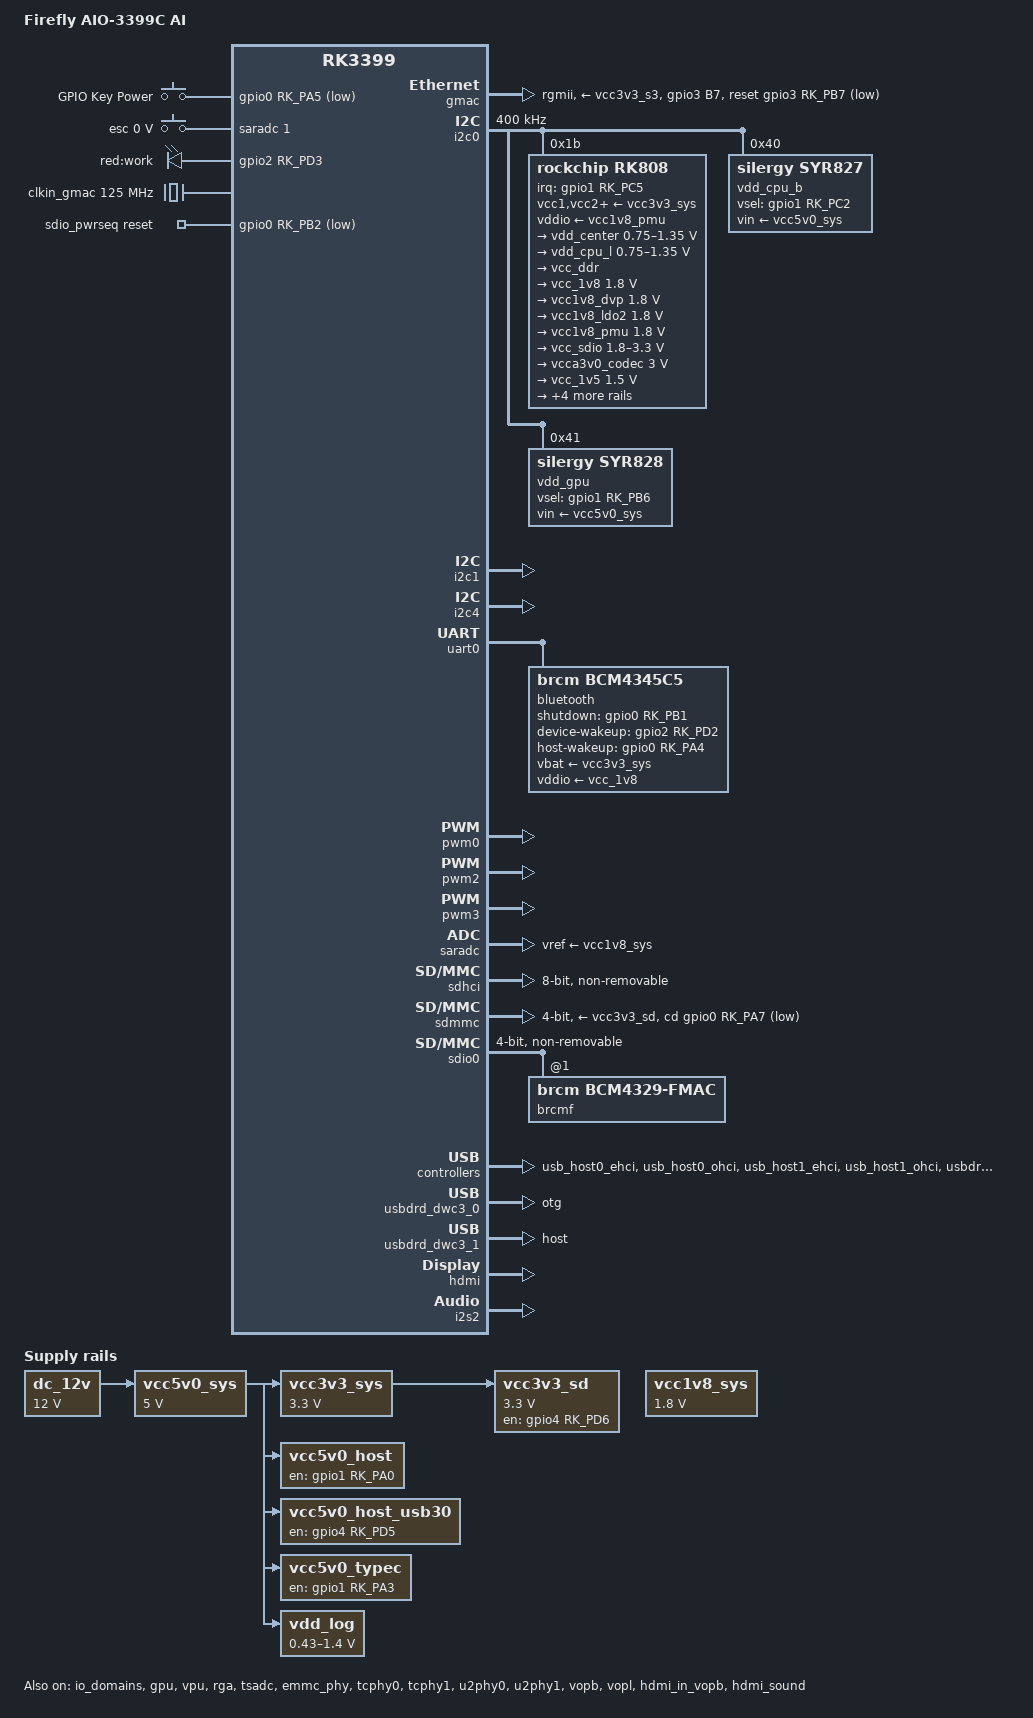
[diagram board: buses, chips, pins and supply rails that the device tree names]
// SPDX-License-Identifier: (GPL-2.0+ OR MIT)
/*
 * Copyright (C) 2025 kaixinos <kaixinos@outlook.com>
 */

/dts-v1/;
#include <dt-bindings/input/linux-event-codes.h>
#include <dt-bindings/leds/common.h>
#include <dt-bindings/pwm/pwm.h>
#include "rk3399.dtsi"

/ {
	model = "Firefly AIO-3399C AI";
	compatible = "firefly,aio-3399c-ai", "rockchip,rk3399";

	aliases {
		ethernet0 = &gmac;
		mmc0 = &sdio0;
		mmc1 = &sdmmc;
		mmc2 = &sdhci;
	};

	chosen {
		stdout-path = "serial2:1500000n8";
	};

	dc_12v: dc-12v {
		compatible = "regulator-fixed";
		regulator-name = "dc_12v";
		regulator-always-on;
		regulator-boot-on;
		regulator-min-microvolt = <12000000>;
		regulator-max-microvolt = <12000000>;
	};

	vcc5v0_sys: vcc5v0-sys {
		compatible = "regulator-fixed";
		regulator-name = "vcc5v0_sys";
		regulator-always-on;
		regulator-boot-on;
		regulator-min-microvolt = <5000000>;
		regulator-max-microvolt = <5000000>;
		vin-supply = <&dc_12v>;
	};

	vcc3v3_sys: vcc3v3-sys {
		compatible = "regulator-fixed";
		regulator-name = "vcc3v3_sys";
		regulator-always-on;
		regulator-boot-on;
		regulator-min-microvolt = <3300000>;
		regulator-max-microvolt = <3300000>;
		vin-supply = <&vcc5v0_sys>;
	};

	vcc1v8_sys: vcc1v8-sys {
		compatible = "regulator-fixed";
		regulator-name = "vcc1v8_sys";
		regulator-always-on;
		regulator-boot-on;
		regulator-min-microvolt = <1800000>;
		regulator-max-microvolt = <1800000>;
	};

	vcc3v3_sd: vcc3v3-sd {
		compatible = "regulator-fixed";
		regulator-name = "vcc3v3_sd";
		enable-active-high;
		gpio = <&gpio4 RK_PD6 GPIO_ACTIVE_HIGH>;
		pinctrl-names = "default";
		pinctrl-0 = <&sdmmc0_pwr_h>;
		regulator-always-on;
		regulator-min-microvolt = <3300000>;
		regulator-max-microvolt = <3300000>;
		vin-supply = <&vcc3v3_sys>;
	};

	vcc5v0_host: vcc5v0-host {
		compatible = "regulator-fixed";
		regulator-name = "vcc5v0_host";
		enable-active-high;
		gpio = <&gpio1 RK_PA0 GPIO_ACTIVE_HIGH>;
		pinctrl-names = "default";
		pinctrl-0 = <&vcc5v0_host_en>;
		vin-supply = <&vcc5v0_sys>;
	};

	vcc5v0_host_usb30: vcc5v0-host-usb30 {
		compatible = "regulator-fixed";
		regulator-name = "vcc5v0_host_usb30";
		enable-active-high;
		gpio = <&gpio4 RK_PD5 GPIO_ACTIVE_HIGH>;
		pinctrl-names = "default";
		pinctrl-0 = <&vcc5v0_host_usb30_en>;
		regulator-always-on;
		vin-supply = <&vcc5v0_sys>;
	};

	vcc5v0_typec: vcc5v0-typec {
		compatible = "regulator-fixed";
		regulator-name = "vcc5v0_typec";
		enable-active-high;
		gpio = <&gpio1 RK_PA3 GPIO_ACTIVE_HIGH>;
		pinctrl-names = "default";
		pinctrl-0 = <&vcc5v0_typec_en>;
		vin-supply = <&vcc5v0_sys>;
	};

	vdd_log: vdd-log {
		compatible = "pwm-regulator";
		pwms = <&pwm2 0 25000 1>;
		regulator-name = "vdd_log";
		regulator-always-on;
		regulator-boot-on;
		regulator-min-microvolt = <430000>;
		regulator-max-microvolt = <1400000>;
		vin-supply = <&vcc5v0_sys>;
	};

	gpio-keys {
		compatible = "gpio-keys";
		autorepeat;
		pinctrl-names = "default";
		pinctrl-0 = <&power_key>;

		key-power {
			gpios = <&gpio0 RK_PA5 GPIO_ACTIVE_LOW>;
			label = "GPIO Key Power";
			linux,code = <KEY_POWER>;
			debounce-interval = <100>;
			wakeup-source;
		};
	};

	adc-keys {
		compatible = "adc-keys";
		io-channels = <&saradc 1>;
		io-channel-names = "buttons";
		keyup-threshold-microvolt = <1800000>;
		poll-interval = <300>;

		esc-key {
			label = "esc";
			linux,code = <KEY_ESC>;
			press-threshold-microvolt = <0>;
		};
	};

	leds {
		compatible = "gpio-leds";
		pinctrl-names = "default";
		pinctrl-0 = <&user_led0>;

		/* USER_LED */
		led-0 {
			label = "red:work";
			gpios = <&gpio2 RK_PD3 GPIO_ACTIVE_HIGH>;
			default-state = "on";
		};
	};

	clkin_gmac: external-gmac-clock {
		compatible = "fixed-clock";
		clock-frequency = <125000000>;
		clock-output-names = "clkin_gmac";
		#clock-cells = <0>;
	};

	sdio_pwrseq: sdio-pwrseq {
		compatible = "mmc-pwrseq-simple";
		clocks = <&rk808 1>;
		clock-names = "ext_clock";
		pinctrl-names = "default";
		pinctrl-0 = <&wifi_enable_h>;

		/*
		 * On the module itself this is one of these (depending
		 * on the actual card populated):
		 * - SDIO_RESET_L_WL_REG_ON
		 * - PDN (power down when low)
		 */
		reset-gpios = <&gpio0 RK_PB2 GPIO_ACTIVE_LOW>;
	};
};

&io_domains {
	status = "okay";

	bt656-supply = <&vcc_3v0>;		/* APIO2_VDD */
	audio-supply = <&vcca0v9_codec>;	/* APIO5_VDD */
	sdmmc-supply = <&vcc_sdio>;		/* SDMMC0_VDD */
	gpio1830-supply = <&vcc_3v0>;		/* APIO4_VDD */
};

&pmu_io_domains {
	status = "okay";

	pmu1830-supply = <&vcc_3v0>;		/* PMUIO2_VDD */
};

&cpu_l0 {
	cpu-supply = <&vdd_cpu_l>;
};

&cpu_l1 {
	cpu-supply = <&vdd_cpu_l>;
};

&cpu_l2 {
	cpu-supply = <&vdd_cpu_l>;
};

&cpu_l3 {
	cpu-supply = <&vdd_cpu_l>;
};

&cpu_b0 {
	cpu-supply = <&vdd_cpu_b>;
};

&cpu_b1 {
	cpu-supply = <&vdd_cpu_b>;
};

&gpu {
	status = "okay";
	mali-supply = <&vdd_gpu>;
};

&vpu {
	status = "okay";
};

&rga {
	status = "okay";
};

&gmac {
	status = "okay";
	assigned-clock-parents = <&clkin_gmac>;
	assigned-clocks = <&cru SCLK_RMII_SRC>;
	clock_in_out = "input";
	phy-supply = <&vcc3v3_s3>;
	phy-mode = "rgmii";
	pinctrl-names = "default";
	pinctrl-0 = <&rgmii_pins &rgmii_phy_reset>;
	snps,reset-gpio = <&gpio3 RK_PB7 GPIO_ACTIVE_LOW>;
	snps,reset-active-low;
	snps,reset-delays-us = <0 10000 50000>;
	tx_delay = <0x2B>;
	rx_delay = <0x23>;
};

&i2c0 {
	status = "okay";
	clock-frequency = <400000>;
	i2c-scl-rising-time-ns = <168>;
	i2c-scl-falling-time-ns = <4>;

	rk808: pmic@1b {
		compatible = "rockchip,rk808";
		reg = <0x1b>;
		interrupt-parent = <&gpio1>;
		interrupts = <RK_PC5 IRQ_TYPE_LEVEL_LOW>;
		#clock-cells = <1>;
		clock-output-names = "xin32k", "rk808-clkout2";
		pinctrl-names = "default";
		pinctrl-0 = <&pmic_int_l>;
		rockchip,system-power-controller;
		wakeup-source;

		vcc1-supply = <&vcc3v3_sys>;
		vcc2-supply = <&vcc3v3_sys>;
		vcc3-supply = <&vcc3v3_sys>;
		vcc4-supply = <&vcc3v3_sys>;
		vcc6-supply = <&vcc3v3_sys>;
		vcc7-supply = <&vcc3v3_sys>;
		vcc8-supply = <&vcc3v3_sys>;
		vcc9-supply = <&vcc3v3_sys>;
		vcc10-supply = <&vcc3v3_sys>;
		vcc11-supply = <&vcc3v3_sys>;
		vcc12-supply = <&vcc3v3_sys>;
		vddio-supply = <&vcc1v8_pmu>;

		regulators {
			vdd_center: DCDC_REG1 {
				regulator-name = "vdd_center";
				regulator-always-on;
				regulator-boot-on;
				regulator-min-microvolt = <750000>;
				regulator-max-microvolt = <1350000>;
				regulator-ramp-delay = <6001>;

				regulator-state-mem {
					regulator-off-in-suspend;
				};
			};

			vdd_cpu_l: DCDC_REG2 {
				regulator-name = "vdd_cpu_l";
				regulator-always-on;
				regulator-boot-on;
				regulator-min-microvolt = <750000>;
				regulator-max-microvolt = <1350000>;
				regulator-ramp-delay = <6001>;

				regulator-state-mem {
					regulator-off-in-suspend;
				};
			};

			vcc_ddr: DCDC_REG3 {
				regulator-name = "vcc_ddr";
				regulator-always-on;
				regulator-boot-on;

				regulator-state-mem {
					regulator-on-in-suspend;
				};
			};

			vcc_1v8: DCDC_REG4 {
				regulator-name = "vcc_1v8";
				regulator-always-on;
				regulator-boot-on;
				regulator-min-microvolt = <1800000>;
				regulator-max-microvolt = <1800000>;

				regulator-state-mem {
					regulator-on-in-suspend;
					regulator-suspend-microvolt = <1800000>;
				};
			};

			vcc1v8_dvp: LDO_REG1 {
				regulator-name = "vcc1v8_dvp";
				regulator-always-on;
				regulator-boot-on;
				regulator-min-microvolt = <1800000>;
				regulator-max-microvolt = <1800000>;

				regulator-state-mem {
					regulator-off-in-suspend;
				};
			};

			vcc1v8_ldo2: LDO_REG2 {
				regulator-name = "vcc1v8_ldo2";
				regulator-always-on;
				regulator-boot-on;
				regulator-min-microvolt = <1800000>;
				regulator-max-microvolt = <1800000>;

				regulator-state-mem {
					regulator-off-in-suspend;
				};
			};

			vcc1v8_pmu: LDO_REG3 {
				regulator-name = "vcc1v8_pmu";
				regulator-always-on;
				regulator-boot-on;
				regulator-min-microvolt = <1800000>;
				regulator-max-microvolt = <1800000>;

				regulator-state-mem {
					regulator-on-in-suspend;
					regulator-suspend-microvolt = <1800000>;
				};
			};

			vcc_sdio: LDO_REG4 {
				regulator-name = "vcc_sdio";
				regulator-always-on;
				regulator-boot-on;
				regulator-min-microvolt = <1800000>;
				regulator-max-microvolt = <3300000>;

				regulator-state-mem {
					regulator-on-in-suspend;
					regulator-suspend-microvolt = <3000000>;
				};
			};

			vcca3v0_codec: LDO_REG5 {
				regulator-name = "vcca3v0_codec";
				regulator-always-on;
				regulator-boot-on;
				regulator-min-microvolt = <3000000>;
				regulator-max-microvolt = <3000000>;

				regulator-state-mem {
					regulator-off-in-suspend;
				};
			};

			vcc_1v5: LDO_REG6 {
				regulator-name = "vcc_1v5";
				regulator-always-on;
				regulator-boot-on;
				regulator-min-microvolt = <1500000>;
				regulator-max-microvolt = <1500000>;

				regulator-state-mem {
					regulator-on-in-suspend;
					regulator-suspend-microvolt = <1500000>;
				};
			};

			vcca0v9_codec: LDO_REG7 {
				regulator-name = "vcca0v9_codec";
				regulator-always-on;
				regulator-boot-on;
				regulator-min-microvolt = <900000>;
				regulator-max-microvolt = <900000>;

				regulator-state-mem {
					regulator-off-in-suspend;
				};
			};

			vcc_3v0: LDO_REG8 {
				regulator-name = "vcc_3v0";
				regulator-always-on;
				regulator-boot-on;
				regulator-min-microvolt = <3000000>;
				regulator-max-microvolt = <3000000>;

				regulator-state-mem {
					regulator-on-in-suspend;
					regulator-suspend-microvolt = <3000000>;
				};
			};

			vcc3v3_s3: SWITCH_REG1 {
				regulator-name = "vcc3v3_s3";
				regulator-always-on;
				regulator-boot-on;

				regulator-state-mem {
					regulator-off-in-suspend;
				};
			};

			vcc3v3_s0: SWITCH_REG2 {
				regulator-name = "vcc3v3_s0";
				regulator-always-on;
				regulator-boot-on;

				regulator-state-mem {
					regulator-off-in-suspend;
				};
			};
		};
	};

	vdd_cpu_b: regulator@40 {
		compatible = "silergy,syr827";
		reg = <0x40>;
		fcs,suspend-voltage-selector = <1>;
		regulator-compatible = "fan53555-reg";
		pinctrl-names = "default";
		pinctrl-0 = <&vsel1_pin>;
		vsel-gpios = <&gpio1 RK_PC2 GPIO_ACTIVE_HIGH>;
		regulator-name = "vdd_cpu_b";
		regulator-min-microvolt = <712500>;
		regulator-max-microvolt = <1500000>;
		regulator-ramp-delay = <1000>;
		regulator-always-on;
		regulator-boot-on;
		vin-supply = <&vcc5v0_sys>;

		regulator-state-mem {
			regulator-off-in-suspend;
		};
	};

	vdd_gpu: regulator@41 {
		compatible = "silergy,syr828";
		reg = <0x41>;
		fcs,suspend-voltage-selector = <1>;
		regulator-compatible = "fan53555-reg";
		pinctrl-names = "default";
		pinctrl-0 = <&vsel2_pin>;
		vsel-gpios = <&gpio1 RK_PB6 GPIO_ACTIVE_HIGH>;
		regulator-name = "vdd_gpu";
		regulator-min-microvolt = <712500>;
		regulator-max-microvolt = <1500000>;
		regulator-ramp-delay = <1000>;
		regulator-always-on;
		regulator-boot-on;
		vin-supply = <&vcc5v0_sys>;

		regulator-state-mem {
			regulator-off-in-suspend;
		};
	};
};

&i2c1 {
	status = "okay";
	i2c-scl-rising-time-ns = <300>;
	i2c-scl-falling-time-ns = <15>;
};

&i2c3 {
	status = "disabled";
};

&i2c4 {
	status = "okay";
	i2c-scl-rising-time-ns = <475>;
	i2c-scl-falling-time-ns = <26>;
};

&uart0 {
	status = "okay";
	pinctrl-names = "default";
	pinctrl-0 = <&uart0_xfer &uart0_cts &uart0_rts>;

	bluetooth {
		compatible = "brcm,bcm4345c5";
		clocks = <&rk808 1>;
		clock-names = "ext_clock";
		shutdown-gpios = <&gpio0 RK_PB1 GPIO_ACTIVE_HIGH>;
		device-wakeup-gpios = <&gpio2 RK_PD2 GPIO_ACTIVE_HIGH>;	/* Host wake BT */
		host-wakeup-gpios = <&gpio0 RK_PA4 GPIO_ACTIVE_HIGH>;	/* BT wake Host, irq*/
		max-speed = <1500000>;
		pinctrl-names = "default";
		pinctrl-0 = <&bt_enable_h &bt_wake_l &bt_host_wake_l>;
		vbat-supply = <&vcc3v3_sys>;
		vddio-supply = <&vcc_1v8>;
	};
};

&uart2 {
	status = "disabled";
};

&pwm0 {
	status = "okay";
};

&pwm2 {
	status = "okay";
	pinctrl-names = "active";
	pinctrl-0 = <&pwm2_pin>;
};

&pwm3 {
	status = "okay";
};

&saradc {
	status = "okay";
	vref-supply = <&vcc1v8_sys>;
};

&tsadc {
	status = "okay";

	/* tshut mode 0:CRU 1:GPIO */
	rockchip,hw-tshut-mode = <1>;
	/* tshut polarity 0:LOW 1:HIGH */
	rockchip,hw-tshut-polarity = <1>;
};

&emmc_phy {
	status = "okay";
};

&sdhci {
	status = "okay";
	//max-frequency = <150000000>;
	bus-width = <8>;
	mmc-hs200-1_8v;
	//mmc-hs400-1_8v;
	//mmc-hs400-enhanced-strobe;
	//keep-power-in-suspend;
	non-removable;
};

&sdmmc {
	status = "okay";
	clock-frequency = <150000000>;
	max-frequency = <150000000>;
	bus-width = <4>;
	cap-mmc-highspeed;
	cap-sd-highspeed;
	disable-wp;
	sd-uhs-sdr104;
	pinctrl-names = "default";
	pinctrl-0 = <&sdmmc_clk &sdmmc_cmd &sdmmc_bus4 &sdmmc_cd>;
	cd-gpios = <&gpio0 RK_PA7 GPIO_ACTIVE_LOW>;
	vmmc-supply = <&vcc3v3_sd>;
	vqmmc-supply = <&vcc_sdio>;
};

&sdio0 {
	status = "okay";
	#address-cells = <1>;
	#size-cells = <0>;

	clock-frequency = <50000000>;
	max-frequency = <50000000>;
	bus-width = <4>;
	disable-wp;
	cap-sdio-irq;
	cap-sd-highspeed;
	keep-power-in-suspend;
	mmc-pwrseq = <&sdio_pwrseq>;
	non-removable;
	pinctrl-names = "default";
	pinctrl-0 = <&sdio0_bus4 &sdio0_cmd &sdio0_clk>;
	sd-uhs-sdr104;

	brcmf: wifi@1 {
		compatible = "brcm,bcm4329-fmac";
		reg = <1>;
		//interrupt-parent = <&gpio0>;
		////interrupts = <RK_PA3 IRQ_TYPE_LEVEL_HIGH>;	/* WIFI wake Host irq */
		//interrupts = <RK_PA3 GPIO_ACTIVE_HIGH>;
		//interrupt-names = "host-wake";
		pinctrl-names = "default";
		pinctrl-0 = <&wifi_host_wake_l>;
	};
};

&pcie_phy {
	status = "disabled";
};

&pcie0 {
	status = "disabled";
};

&cdn_dp {
	status = "disabled";
};

&tcphy0 {
	status = "okay";
};

&tcphy1 {
	status = "okay";
};

&u2phy0 {
	status = "okay";

	u2phy0_otg: otg-port {
		status = "okay";
		vbus-supply = <&vcc5v0_typec>;
	};

	u2phy0_host: host-port {
		status = "okay";
		phy-supply = <&vcc5v0_host>;
	};
};

&u2phy1 {
	status = "okay";

	u2phy1_otg: otg-port {
		status = "okay";
	};

	u2phy1_host: host-port {
		status = "okay";
		phy-supply = <&vcc5v0_host>;
	};
};

&usb_host0_ehci {
	status = "okay";
};

&usb_host0_ohci {
	status = "okay";
};

&usb_host1_ehci {
	status = "okay";
};

&usb_host1_ohci {
	status = "okay";
};

&usbdrd3_0 {
	status = "okay";
};

&usbdrd_dwc3_0 {
	status = "okay";
	extcon = <&u2phy0>;
	dr_mode = "otg";
};

&usbdrd3_1 {
	status = "okay";
};

&usbdrd_dwc3_1 {
	status = "okay";
	dr_mode = "host";
};

&vopb {
	status = "okay";
};

&vopb_mmu {
	status = "okay";
};

&vopl {
	status = "okay";
};

&vopl_mmu {
	status = "okay";
};

&hdmi {
	status = "okay";
	pinctrl-names = "default";
	pinctrl-0 = <&hdmi_i2c_xfer>, <&hdmi_cec>;
};

&hdmi_in_vopb {
	status = "okay";
};

&hdmi_in_vopl {
	status = "disabled";
};

&hdmi_sound {
	status = "okay";
};

&i2s0 {
	status = "disabled";
};

&i2s1 {
	status = "disabled";
};

&i2s2 {
	status = "okay";
};

&pinctrl {
	pinctrl-names = "default";
	pinctrl-0 = <&host_hub_vcc>;

	pmic {
		pmic_int_l: pmic-int-l {
			rockchip,pins =
				<1 RK_PC5 RK_FUNC_GPIO &pcfg_pull_up>;
		};

		vsel1_pin: vsel1-pin {
			rockchip,pins =
				<1 RK_PC2 RK_FUNC_GPIO &pcfg_pull_down>;
		};

		vsel2_pin: vsel2-pin {
			rockchip,pins =
				<1 RK_PB6 RK_FUNC_GPIO &pcfg_pull_down>;
		};
	};

	sd {
		sdmmc0_pwr_h: sdmmc0-pwr-h {
			rockchip,pins =
				<4 RK_PD6 RK_FUNC_GPIO &pcfg_pull_up>;
		};
	};

	host-hub-vcc {
		host_hub_vcc: host-hub-vcc {
			rockchip,pins =
				<1 RK_PC7 RK_FUNC_GPIO &pcfg_output_high>,
				<2 RK_PA4 RK_FUNC_GPIO &pcfg_output_high>;	/* USB2.0 HUB RESET */
		};
	};

	usb2 {
		vcc5v0_host_en: vcc5v0-host-en {
			rockchip,pins =
				<1 RK_PA0 RK_FUNC_GPIO &pcfg_pull_none>;
		};
	};

	usb-typec {
		vcc5v0_typec_en: vcc5v0-typec-en {
			rockchip,pins =
				<1 RK_PA3 RK_FUNC_GPIO &pcfg_pull_none>;
		};
	};

	usb3 {
		vcc5v0_host_usb30_en: vcc5v0-host-usb30-en {
			rockchip,pins =
				<4 RK_PD5 RK_FUNC_GPIO &pcfg_pull_none>;
		};
	};

	rockchip-key {
		power_key: power-key {
			rockchip,pins =
				<0 RK_PA5 RK_FUNC_GPIO &pcfg_pull_up>;
		};
	};

	leds {
		user_led0: user-led0 {
			rockchip,pins =
				<2 RK_PD3 RK_FUNC_GPIO &pcfg_pull_none>;
		};
	};

	gmac {
		rgmii_phy_reset: rgmii-phy-reset {
			rockchip,pins =
				<3 RK_PB7 RK_FUNC_GPIO &pcfg_output_low>;
		};
	};

	wifi {
		wifi_enable_h: wifi-enable-h {
			rockchip,pins =
				<0 RK_PB2 RK_FUNC_GPIO &pcfg_pull_none>;
		};

		wifi_host_wake_l: wifi-host-wake-l {
			rockchip,pins =
				<0 RK_PA3 RK_FUNC_GPIO &pcfg_pull_down>;
		};
	};

	bt {
		bt_enable_h: bt-enable-h {
			rockchip,pins =
				<0 RK_PB1 RK_FUNC_GPIO &pcfg_pull_none>;
		};

		bt_wake_l: bt-wake-l {
			rockchip,pins =
				<2 RK_PD2 RK_FUNC_GPIO &pcfg_pull_none>;
		};

		bt_host_wake_l: bt-host-wake-l {
			rockchip,pins =
				<0 RK_PA4 RK_FUNC_GPIO &pcfg_pull_none>;
		};
	};
};
